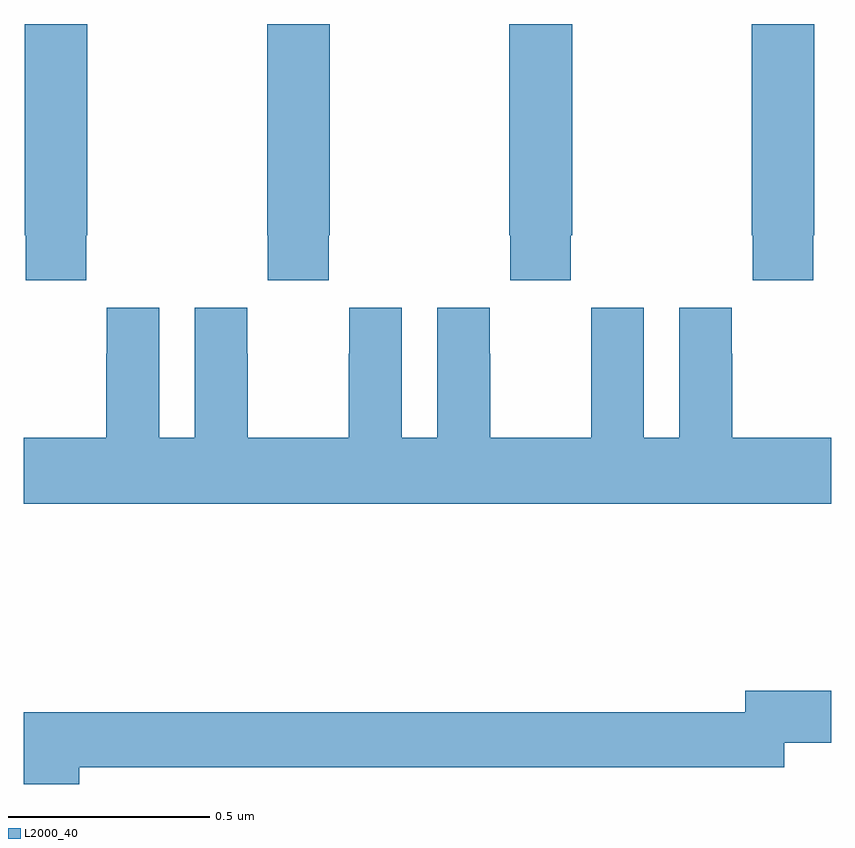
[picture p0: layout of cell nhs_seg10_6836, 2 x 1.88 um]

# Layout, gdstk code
import gdstk
lib = gdstk.Library(unit=1e-6, precision=1e-09)
def P(c, l, *ps):  # polygons
    for p in ps: c.add(gdstk.Polygon(p, *l))
L2000_40 = (2000, 40)

nhs_seg10_6836 = lib.new_cell('nhs_seg10_6836')
P(nhs_seg10_6836, L2000_40, [(196.155,1304.977),(196.158,1304.977),(196.158,1305.5),(196.003,1305.5),(196.003,1304.977),(196.005,1304.977),(196.005,1304.865),(196.155,1304.865)],
  [(196.755,1304.977),(196.758,1304.977),(196.758,1305.5),(196.603,1305.5),(196.603,1304.977),(196.605,1304.977),(196.605,1304.865),(196.755,1304.865)],
  [(197.355,1304.977),(197.358,1304.977),(197.358,1305.5),(197.203,1305.5),(197.203,1304.977),(197.205,1304.977),(197.205,1304.865),(197.355,1304.865)],
  [(197.955,1304.977),(197.958,1304.977),(197.958,1305.5),(197.803,1305.5),(197.803,1304.977),(197.805,1304.977),(197.805,1304.865),(197.955,1304.865)],
  [(198,1304.476),(197.755,1304.476),(197.755,1304.684),(197.754,1304.684),(197.754,1304.797),(197.624,1304.797),(197.624,1304.476),(197.536,1304.476),(197.536,1304.797),(197.406,1304.797),(197.406,1304.684),(197.405,1304.684),(197.405,1304.476),(197.155,1304.476),(197.155,1304.684),(197.154,1304.684),(197.154,1304.797),(197.024,1304.797),(197.024,1304.476),(196.936,1304.476),(196.936,1304.797),(196.806,1304.797),(196.806,1304.684),(196.805,1304.684),(196.805,1304.476),(196.555,1304.476),(196.555,1304.684),(196.554,1304.684),(196.554,1304.797),(196.424,1304.797),(196.424,1304.476),(196.336,1304.476),(196.336,1304.797),(196.206,1304.797),(196.206,1304.684),(196.205,1304.684),(196.205,1304.476),(196,1304.476),(196,1304.312),(198,1304.312)],
  [(196.138,1303.66),(197.883,1303.66),(197.883,1303.72),(198,1303.72),(198,1303.849),(197.787,1303.849),(197.787,1303.796),(196,1303.796),(196,1303.618),(196.138,1303.618)])

lib.write_gds('nhs_seg10_6836.gds')
